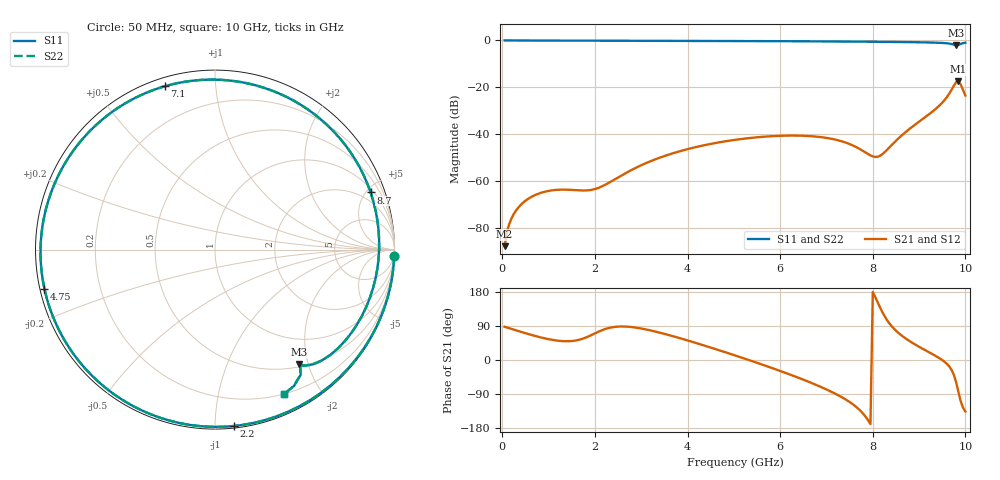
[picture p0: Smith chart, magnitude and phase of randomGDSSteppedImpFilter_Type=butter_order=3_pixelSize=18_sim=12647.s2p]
! freq	dB(S11)	phase(S11)	dB(S12)	phase(S12)
!  dB(S21)	phase(S21)	dB(S22)	phase(S22)
!S-par simulation data
#  GHz  S  DB  R 50
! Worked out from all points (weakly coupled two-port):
!   200 points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, 50 MHz to 10 GHz, reference 50 ohm
!   highest |S21| = -17.43 dB at 9.85 GHz (marker M1); lowest = -87.7 dB at 50 MHz (marker M2)
!   lowest |S11| = -2.0 dB at 9.8 GHz (marker M3), VSWR 8.59, Z = 27.1 - j92.6 ohm
!   |S11| at or under -10 dB: nowhere
!   |S22| runs from -2.0 to 0.0 dB; largest |S21 - S12| = 0
!   S11 on the Smith chart (normalised r, x): 50 MHz: 1, -56; 2.2 GHz: 0.01, -1.11; 4.75 GHz: 0.01, -0.11; 7.1 GHz: 0.04, +0.74; 8.7 GHz: 1.23, +5.35; 10 GHz: 0.20, -1.57
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0.05  -0.01 -2.0  -87.66 87.6  -87.66 87.6  -0.01 -2.1
0.1  -0.01 -4.1  -81.70 85.7  -81.70 85.7  -0.01 -4.1
0.35  -0.02 -14.1  -71.11 76.3  -71.11 76.3  -0.02 -14.1
0.7  -0.03 -28.0  -65.96 63.8  -65.96 63.8  -0.03 -28.0
1.15  -0.06 -45.5  -63.70 51.8  -63.70 51.8  -0.06 -45.5
1.75  -0.08 -67.9  -63.95 56.8  -63.95 56.8  -0.08 -67.9
2.2  -0.10 -84.0  -61.72 80.8  -61.72 80.8  -0.10 -84.0
3.4  -0.15 -124.2  -49.95 72.2  -49.95 72.2  -0.15 -124.3
4.75  -0.22 -167.0  -43.19 23.1  -43.19 23.1  -0.22 -167.1
5.05  -0.24 -176.7  -42.29 11.2  -42.29 11.2  -0.24 -176.8
5.9  -0.31 154.6  -40.71 -24.4  -40.71 -24.4  -0.31 154.5
6.7  -0.38 124.2  -40.84 -61.7  -40.84 -61.7  -0.38 124.0
7.1  -0.43 107.1  -41.87 -83.5  -41.87 -83.5  -0.43 106.9
7.6  -0.49 83.4  -45.01 -119.6  -45.01 -119.6  -0.49 83.2
8.05  -0.56 59.5  -49.63 167.0  -49.63 167.0  -0.56 59.2
8.35  -0.61 42.0  -45.77 98.1  -45.77 98.1  -0.61 41.8
8.7  -0.69 20.2  -39.19 57.7  -39.19 57.7  -0.69 19.9
9.25  -0.88 -17.1  -30.92 18.1  -30.92 18.1  -0.88 -17.3
9.6  -1.21 -42.4  -24.15 -10.0  -24.15 -10.0  -1.21 -42.7
9.8  -2.03 -53.7  -17.79 -58.6  -17.79 -58.6  -2.05 -53.9
9.85  -1.92 -53.5  -17.43 -84.7  -17.43 -84.7  -1.94 -53.7
10  -0.99 -64.4  -23.49 -136.0  -23.49 -136.0  -0.99 -64.5
